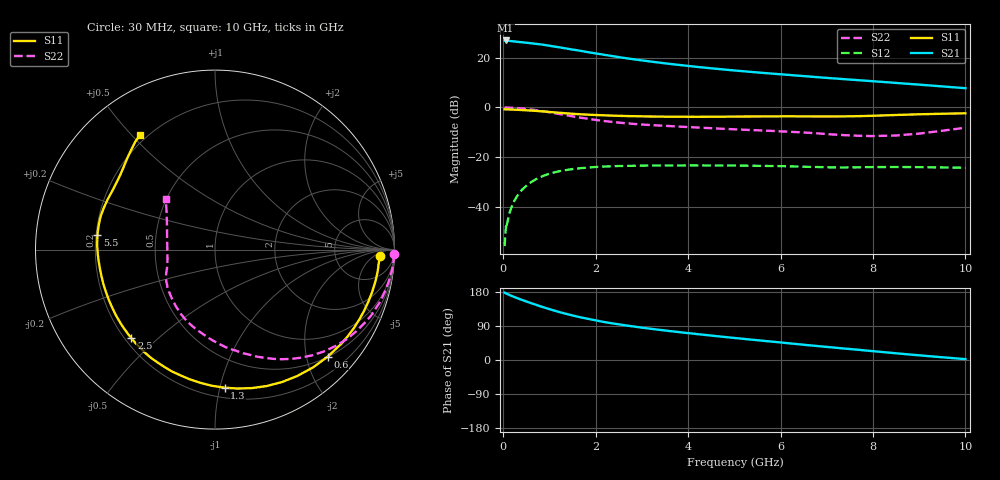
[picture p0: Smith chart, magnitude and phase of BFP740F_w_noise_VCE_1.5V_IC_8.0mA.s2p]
! Infineon Technologies  Discrete & RF Semiconductors
! BFP740F
! VCE =  1.5 V,  IC =  8.0 mA
! Common Emitter S-Parameters:  Oct 2012
# GHz  S  MA  R  50
!  f  S11  S21  S12  S22
! GHz  MAG  ANG  MAG  ANG  MAG  ANG  MAG  ANG
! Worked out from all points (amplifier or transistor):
!   99 points, 30 MHz to 10 GHz, reference 50 ohm
!   highest |S21| = 27.0 dB at 50 MHz (marker M1)
!   |S21| within 3 dB of that: start of sweep to 1.287 GHz
!   unconditionally stable (mu >= 1): 6.932 GHz to end of sweep
!   at 350 MHz: K = 0.07, MSG = 30.4 dB, |S12| = -34.4 dB
!   at 3.5 GHz: K = 0.43, MSG = 20.6 dB, |S12| = -23.4 dB
!   at 10 GHz: K = 1.30, MAG = 12.7 dB, |S12| = -24.3 dB
!   lowest NFmin = 0.42 dB at 450 MHz
!   S11 on the Smith chart (normalised r, x): 30 MHz: 19, -9; 600 MHz: 0.51, -2.42; 1.3 GHz: 0.27, -1.03; 2.5 GHz: 0.23, -0.41; 5.5 GHz: 0.21, +0.06; 10 GHz: 0.17, +0.53
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0.03  0.9173 -2.3  22.23 177.6  0.0016 90.0  0.9962 -1.5
0.05  0.9161 -3.9  22.46 176.5  0.0031 74.9  0.9962 -2.7
0.15  0.9107 -11.5  21.95 170.7  0.0081 83.5  0.9892 -7.9
0.3  0.898 -22.4  21.12 163.3  0.0163 78.0  0.9702 -15.5
0.45  0.8834 -33.1  20.45 156.6  0.024 71.5  0.9446 -22.8
0.6  0.866 -43.5  19.73 150.1  0.0311 65.3  0.91 -29.9
0.8  0.8401 -57.0  18.78 141.8  0.0394 58.0  0.8582 -38.9
0.9  0.8269 -63.2  18.17 138.0  0.043 54.6  0.83 -43.2
1.1  0.7988 -75.0  16.98 130.6  0.049 48.0  0.7712 -51.3
1.3  0.7712 -86.0  15.82 123.7  0.0537 42.4  0.7147 -58.7
1.5  0.7471 -96.1  14.73 117.6  0.0573 37.5  0.6631 -65.4
1.7  0.7263 -105.4  13.73 111.9  0.0601 33.3  0.6172 -71.7
2.1  0.7001 -121.1  11.9 102.1  0.0639 25.9  0.5465 -83.8
2.5  0.6788 -133.3  10.36 94.1  0.066 20.5  0.4963 -93.5
3  0.6628 -145.9  8.9 85.4  0.0672 15.3  0.4536 -103.7
3.4  0.6548 -154.3  7.974 79.3  0.0677 12.0  0.4316 -110.4
4.2  0.6495 -168.4  6.579 68.3  0.0679 6.7  0.3945 -121.2
5.1  0.6568 178.4  5.471 57.0  0.0672 2.1  0.3594 -132.7
5.5  0.6599 172.9  5.086 52.2  0.0668 0.4  0.3472 -137.7
6.7  0.6602 156.5  4.15 38.0  0.0632 -3.4  0.3049 -153.2
8.5  0.7058 133.8  3.127 17.7  0.0631 -4.3  0.2724 168.2
10  0.7635 123.0  2.447 2.3  0.0609 -6.8  0.3914 134.3
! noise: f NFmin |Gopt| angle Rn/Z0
0.45  0.42  0.27  6  0.19
0.9  0.47  0.27  11  0.15
1.5  0.53  0.26  23  0.11
1.9  0.58  0.26  31  0.1
2.4  0.63  0.25  42  0.09
3.5  0.76  0.22  65  0.1
5.5  0.98  0.13  118  0.12
10  1.43  0.38  -121  0.08
